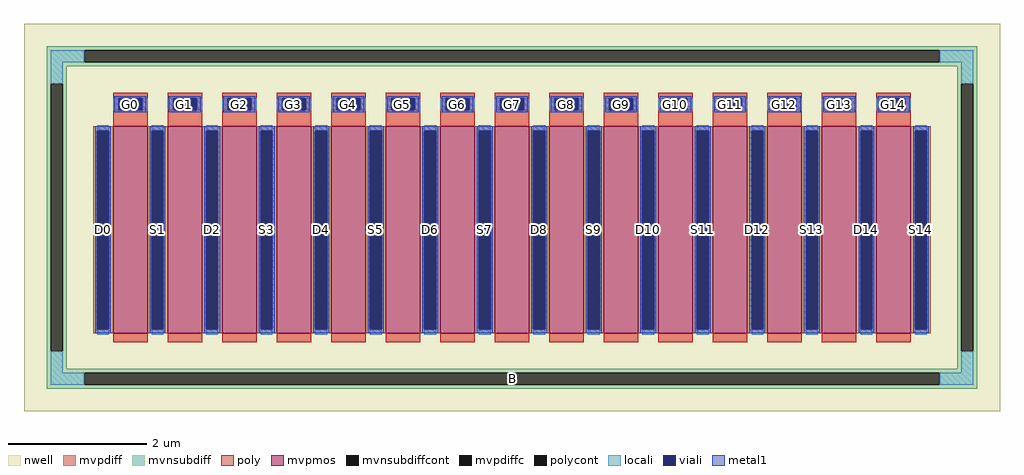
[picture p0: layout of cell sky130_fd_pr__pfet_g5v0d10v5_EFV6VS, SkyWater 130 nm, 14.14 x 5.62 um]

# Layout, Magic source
magic
tech sky130A
magscale 1 2
<< nwell >>
rect -1414 -562 1414 562
<< mvpmos >>
rect -1156 -336 -1056 264
rect -998 -336 -898 264
rect -840 -336 -740 264
rect -682 -336 -582 264
rect -524 -336 -424 264
rect -366 -336 -266 264
rect -208 -336 -108 264
rect -50 -336 50 264
rect 108 -336 208 264
rect 266 -336 366 264
rect 424 -336 524 264
rect 582 -336 682 264
rect 740 -336 840 264
rect 898 -336 998 264
rect 1056 -336 1156 264
<< mvpdiff >>
rect -1214 252 -1156 264
rect -1214 -324 -1202 252
rect -1168 -324 -1156 252
rect -1214 -336 -1156 -324
rect -1056 252 -998 264
rect -1056 -324 -1044 252
rect -1010 -324 -998 252
rect -1056 -336 -998 -324
rect -898 252 -840 264
rect -898 -324 -886 252
rect -852 -324 -840 252
rect -898 -336 -840 -324
rect -740 252 -682 264
rect -740 -324 -728 252
rect -694 -324 -682 252
rect -740 -336 -682 -324
rect -582 252 -524 264
rect -582 -324 -570 252
rect -536 -324 -524 252
rect -582 -336 -524 -324
rect -424 252 -366 264
rect -424 -324 -412 252
rect -378 -324 -366 252
rect -424 -336 -366 -324
rect -266 252 -208 264
rect -266 -324 -254 252
rect -220 -324 -208 252
rect -266 -336 -208 -324
rect -108 252 -50 264
rect -108 -324 -96 252
rect -62 -324 -50 252
rect -108 -336 -50 -324
rect 50 252 108 264
rect 50 -324 62 252
rect 96 -324 108 252
rect 50 -336 108 -324
rect 208 252 266 264
rect 208 -324 220 252
rect 254 -324 266 252
rect 208 -336 266 -324
rect 366 252 424 264
rect 366 -324 378 252
rect 412 -324 424 252
rect 366 -336 424 -324
rect 524 252 582 264
rect 524 -324 536 252
rect 570 -324 582 252
rect 524 -336 582 -324
rect 682 252 740 264
rect 682 -324 694 252
rect 728 -324 740 252
rect 682 -336 740 -324
rect 840 252 898 264
rect 840 -324 852 252
rect 886 -324 898 252
rect 840 -336 898 -324
rect 998 252 1056 264
rect 998 -324 1010 252
rect 1044 -324 1056 252
rect 998 -336 1056 -324
rect 1156 252 1214 264
rect 1156 -324 1168 252
rect 1202 -324 1214 252
rect 1156 -336 1214 -324
<< mvpdiffc >>
rect -1202 -324 -1168 252
rect -1044 -324 -1010 252
rect -886 -324 -852 252
rect -728 -324 -694 252
rect -570 -324 -536 252
rect -412 -324 -378 252
rect -254 -324 -220 252
rect -96 -324 -62 252
rect 62 -324 96 252
rect 220 -324 254 252
rect 378 -324 412 252
rect 536 -324 570 252
rect 694 -324 728 252
rect 852 -324 886 252
rect 1010 -324 1044 252
rect 1168 -324 1202 252
<< mvnsubdiff >>
rect -1348 484 1348 496
rect -1348 450 -1240 484
rect 1240 450 1348 484
rect -1348 438 1348 450
rect -1348 388 -1290 438
rect -1348 -388 -1336 388
rect -1302 -388 -1290 388
rect 1290 388 1348 438
rect -1348 -438 -1290 -388
rect 1290 -388 1302 388
rect 1336 -388 1348 388
rect 1290 -438 1348 -388
rect -1348 -450 1348 -438
rect -1348 -484 -1240 -450
rect 1240 -484 1348 -450
rect -1348 -496 1348 -484
<< mvnsubdiffcont >>
rect -1240 450 1240 484
rect -1336 -388 -1302 388
rect 1302 -388 1336 388
rect -1240 -484 1240 -450
<< poly >>
rect -1156 345 -1056 361
rect -1156 311 -1140 345
rect -1072 311 -1056 345
rect -1156 264 -1056 311
rect -998 345 -898 361
rect -998 311 -982 345
rect -914 311 -898 345
rect -998 264 -898 311
rect -840 345 -740 361
rect -840 311 -824 345
rect -756 311 -740 345
rect -840 264 -740 311
rect -682 345 -582 361
rect -682 311 -666 345
rect -598 311 -582 345
rect -682 264 -582 311
rect -524 345 -424 361
rect -524 311 -508 345
rect -440 311 -424 345
rect -524 264 -424 311
rect -366 345 -266 361
rect -366 311 -350 345
rect -282 311 -266 345
rect -366 264 -266 311
rect -208 345 -108 361
rect -208 311 -192 345
rect -124 311 -108 345
rect -208 264 -108 311
rect -50 345 50 361
rect -50 311 -34 345
rect 34 311 50 345
rect -50 264 50 311
rect 108 345 208 361
rect 108 311 124 345
rect 192 311 208 345
rect 108 264 208 311
rect 266 345 366 361
rect 266 311 282 345
rect 350 311 366 345
rect 266 264 366 311
rect 424 345 524 361
rect 424 311 440 345
rect 508 311 524 345
rect 424 264 524 311
rect 582 345 682 361
rect 582 311 598 345
rect 666 311 682 345
rect 582 264 682 311
rect 740 345 840 361
rect 740 311 756 345
rect 824 311 840 345
rect 740 264 840 311
rect 898 345 998 361
rect 898 311 914 345
rect 982 311 998 345
rect 898 264 998 311
rect 1056 345 1156 361
rect 1056 311 1072 345
rect 1140 311 1156 345
rect 1056 264 1156 311
rect -1156 -362 -1056 -336
rect -998 -362 -898 -336
rect -840 -362 -740 -336
rect -682 -362 -582 -336
rect -524 -362 -424 -336
rect -366 -362 -266 -336
rect -208 -362 -108 -336
rect -50 -362 50 -336
rect 108 -362 208 -336
rect 266 -362 366 -336
rect 424 -362 524 -336
rect 582 -362 682 -336
rect 740 -362 840 -336
rect 898 -362 998 -336
rect 1056 -362 1156 -336
<< polycont >>
rect -1140 311 -1072 345
rect -982 311 -914 345
rect -824 311 -756 345
rect -666 311 -598 345
rect -508 311 -440 345
rect -350 311 -282 345
rect -192 311 -124 345
rect -34 311 34 345
rect 124 311 192 345
rect 282 311 350 345
rect 440 311 508 345
rect 598 311 666 345
rect 756 311 824 345
rect 914 311 982 345
rect 1072 311 1140 345
<< locali >>
rect -1336 450 -1240 484
rect 1240 450 1336 484
rect -1336 388 -1302 450
rect 1302 388 1336 450
rect -1156 311 -1140 345
rect -1072 311 -1056 345
rect -998 311 -982 345
rect -914 311 -898 345
rect -840 311 -824 345
rect -756 311 -740 345
rect -682 311 -666 345
rect -598 311 -582 345
rect -524 311 -508 345
rect -440 311 -424 345
rect -366 311 -350 345
rect -282 311 -266 345
rect -208 311 -192 345
rect -124 311 -108 345
rect -50 311 -34 345
rect 34 311 50 345
rect 108 311 124 345
rect 192 311 208 345
rect 266 311 282 345
rect 350 311 366 345
rect 424 311 440 345
rect 508 311 524 345
rect 582 311 598 345
rect 666 311 682 345
rect 740 311 756 345
rect 824 311 840 345
rect 898 311 914 345
rect 982 311 998 345
rect 1056 311 1072 345
rect 1140 311 1156 345
rect -1202 252 -1168 268
rect -1202 -340 -1168 -324
rect -1044 252 -1010 268
rect -1044 -340 -1010 -324
rect -886 252 -852 268
rect -886 -340 -852 -324
rect -728 252 -694 268
rect -728 -340 -694 -324
rect -570 252 -536 268
rect -570 -340 -536 -324
rect -412 252 -378 268
rect -412 -340 -378 -324
rect -254 252 -220 268
rect -254 -340 -220 -324
rect -96 252 -62 268
rect -96 -340 -62 -324
rect 62 252 96 268
rect 62 -340 96 -324
rect 220 252 254 268
rect 220 -340 254 -324
rect 378 252 412 268
rect 378 -340 412 -324
rect 536 252 570 268
rect 536 -340 570 -324
rect 694 252 728 268
rect 694 -340 728 -324
rect 852 252 886 268
rect 852 -340 886 -324
rect 1010 252 1044 268
rect 1010 -340 1044 -324
rect 1168 252 1202 268
rect 1168 -340 1202 -324
rect -1336 -450 -1302 -388
rect 1302 -450 1336 -388
rect -1336 -484 -1240 -450
rect 1240 -484 1336 -450
<< viali >>
rect -1140 311 -1072 345
rect -982 311 -914 345
rect -824 311 -756 345
rect -666 311 -598 345
rect -508 311 -440 345
rect -350 311 -282 345
rect -192 311 -124 345
rect -34 311 34 345
rect 124 311 192 345
rect 282 311 350 345
rect 440 311 508 345
rect 598 311 666 345
rect 756 311 824 345
rect 914 311 982 345
rect 1072 311 1140 345
rect -1202 -324 -1168 252
rect -1044 -324 -1010 252
rect -886 -324 -852 252
rect -728 -324 -694 252
rect -570 -324 -536 252
rect -412 -324 -378 252
rect -254 -324 -220 252
rect -96 -324 -62 252
rect 62 -324 96 252
rect 220 -324 254 252
rect 378 -324 412 252
rect 536 -324 570 252
rect 694 -324 728 252
rect 852 -324 886 252
rect 1010 -324 1044 252
rect 1168 -324 1202 252
<< metal1 >>
rect -1152 345 -1060 351
rect -1152 311 -1140 345
rect -1072 311 -1060 345
rect -1152 305 -1060 311
rect -994 345 -902 351
rect -994 311 -982 345
rect -914 311 -902 345
rect -994 305 -902 311
rect -836 345 -744 351
rect -836 311 -824 345
rect -756 311 -744 345
rect -836 305 -744 311
rect -678 345 -586 351
rect -678 311 -666 345
rect -598 311 -586 345
rect -678 305 -586 311
rect -520 345 -428 351
rect -520 311 -508 345
rect -440 311 -428 345
rect -520 305 -428 311
rect -362 345 -270 351
rect -362 311 -350 345
rect -282 311 -270 345
rect -362 305 -270 311
rect -204 345 -112 351
rect -204 311 -192 345
rect -124 311 -112 345
rect -204 305 -112 311
rect -46 345 46 351
rect -46 311 -34 345
rect 34 311 46 345
rect -46 305 46 311
rect 112 345 204 351
rect 112 311 124 345
rect 192 311 204 345
rect 112 305 204 311
rect 270 345 362 351
rect 270 311 282 345
rect 350 311 362 345
rect 270 305 362 311
rect 428 345 520 351
rect 428 311 440 345
rect 508 311 520 345
rect 428 305 520 311
rect 586 345 678 351
rect 586 311 598 345
rect 666 311 678 345
rect 586 305 678 311
rect 744 345 836 351
rect 744 311 756 345
rect 824 311 836 345
rect 744 305 836 311
rect 902 345 994 351
rect 902 311 914 345
rect 982 311 994 345
rect 902 305 994 311
rect 1060 345 1152 351
rect 1060 311 1072 345
rect 1140 311 1152 345
rect 1060 305 1152 311
rect -1208 252 -1162 264
rect -1208 -324 -1202 252
rect -1168 -324 -1162 252
rect -1208 -336 -1162 -324
rect -1050 252 -1004 264
rect -1050 -324 -1044 252
rect -1010 -324 -1004 252
rect -1050 -336 -1004 -324
rect -892 252 -846 264
rect -892 -324 -886 252
rect -852 -324 -846 252
rect -892 -336 -846 -324
rect -734 252 -688 264
rect -734 -324 -728 252
rect -694 -324 -688 252
rect -734 -336 -688 -324
rect -576 252 -530 264
rect -576 -324 -570 252
rect -536 -324 -530 252
rect -576 -336 -530 -324
rect -418 252 -372 264
rect -418 -324 -412 252
rect -378 -324 -372 252
rect -418 -336 -372 -324
rect -260 252 -214 264
rect -260 -324 -254 252
rect -220 -324 -214 252
rect -260 -336 -214 -324
rect -102 252 -56 264
rect -102 -324 -96 252
rect -62 -324 -56 252
rect -102 -336 -56 -324
rect 56 252 102 264
rect 56 -324 62 252
rect 96 -324 102 252
rect 56 -336 102 -324
rect 214 252 260 264
rect 214 -324 220 252
rect 254 -324 260 252
rect 214 -336 260 -324
rect 372 252 418 264
rect 372 -324 378 252
rect 412 -324 418 252
rect 372 -336 418 -324
rect 530 252 576 264
rect 530 -324 536 252
rect 570 -324 576 252
rect 530 -336 576 -324
rect 688 252 734 264
rect 688 -324 694 252
rect 728 -324 734 252
rect 688 -336 734 -324
rect 846 252 892 264
rect 846 -324 852 252
rect 886 -324 892 252
rect 846 -336 892 -324
rect 1004 252 1050 264
rect 1004 -324 1010 252
rect 1044 -324 1050 252
rect 1004 -336 1050 -324
rect 1162 252 1208 264
rect 1162 -324 1168 252
rect 1202 -324 1208 252
rect 1162 -336 1208 -324
<< labels >>
rlabel mvnsubdiffcont 0 -467 0 -467 0 B
port 1 nsew
rlabel mvpdiffc -1185 -36 -1185 -36 0 D0
port 2 nsew
rlabel polycont -1106 328 -1106 328 0 G0
port 3 nsew
rlabel mvpdiffc -1027 -36 -1027 -36 0 S1
port 4 nsew
rlabel polycont -948 328 -948 328 0 G1
port 5 nsew
rlabel mvpdiffc -869 -36 -869 -36 0 D2
port 6 nsew
rlabel polycont -790 328 -790 328 0 G2
port 7 nsew
rlabel mvpdiffc -711 -36 -711 -36 0 S3
port 8 nsew
rlabel polycont -632 328 -632 328 0 G3
port 9 nsew
rlabel mvpdiffc -553 -36 -553 -36 0 D4
port 10 nsew
rlabel polycont -474 328 -474 328 0 G4
port 11 nsew
rlabel mvpdiffc -395 -36 -395 -36 0 S5
port 12 nsew
rlabel polycont -316 328 -316 328 0 G5
port 13 nsew
rlabel mvpdiffc -237 -36 -237 -36 0 D6
port 14 nsew
rlabel polycont -158 328 -158 328 0 G6
port 15 nsew
rlabel mvpdiffc -79 -36 -79 -36 0 S7
port 16 nsew
rlabel polycont 0 328 0 328 0 G7
port 17 nsew
rlabel mvpdiffc 79 -36 79 -36 0 D8
port 18 nsew
rlabel polycont 158 328 158 328 0 G8
port 19 nsew
rlabel mvpdiffc 237 -36 237 -36 0 S9
port 20 nsew
rlabel polycont 316 328 316 328 0 G9
port 21 nsew
rlabel mvpdiffc 395 -36 395 -36 0 D10
port 22 nsew
rlabel polycont 474 328 474 328 0 G10
port 23 nsew
rlabel mvpdiffc 553 -36 553 -36 0 S11
port 24 nsew
rlabel polycont 632 328 632 328 0 G11
port 25 nsew
rlabel mvpdiffc 711 -36 711 -36 0 D12
port 26 nsew
rlabel polycont 790 328 790 328 0 G12
port 27 nsew
rlabel mvpdiffc 869 -36 869 -36 0 S13
port 28 nsew
rlabel polycont 948 328 948 328 0 G13
port 29 nsew
rlabel mvpdiffc 1027 -36 1027 -36 0 D14
port 30 nsew
rlabel mvpdiffc 1185 -36 1185 -36 0 S14
port 31 nsew
rlabel polycont 1106 328 1106 328 0 G14
port 32 nsew
<< properties >>
string FIXED_BBOX -1319 -467 1319 467
string gencell sky130_fd_pr__pfet_g5v0d10v5
string library sky130
string parameters w 3.0 l 0.5 m 1 nf 15 diffcov 100 polycov 100 guard 1 glc 1 grc 1 gtc 1 gbc 1 tbcov 100 rlcov 100 topc 1 botc 0 poverlap 0 doverlap 1 lmin 0.50 wmin 0.42 class mosfet compatible {sky130_fd_pr__pfet_01v8  sky130_fd_pr__pfet_01v8_lvt sky130_fd_pr__pfet_01v8_hvt  sky130_fd_pr__pfet_g5v0d10v5} full_metal 1 conn_gates 0 viasrc 100 viadrn 100 viagate 100 viagb 0 viagr 0 viagl 0 viagt 0 doports 1
<< end >>
